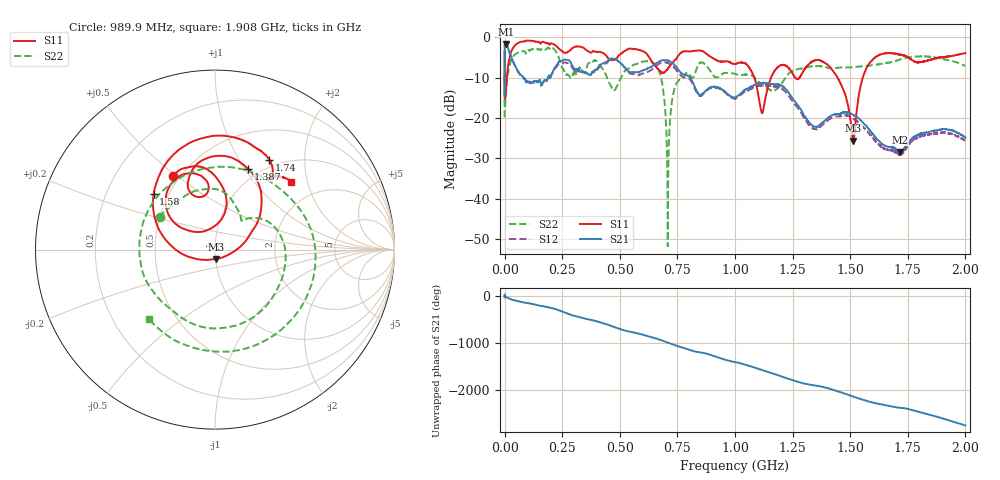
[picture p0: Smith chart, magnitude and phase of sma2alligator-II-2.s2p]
# HZ S RI R 50.000000000000
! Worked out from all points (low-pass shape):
!   20000 points, 9 kHz to 2 GHz, reference 50 ohm
!   highest |S21| = -1.68 dB at 4.909 MHz (marker M1); lowest = -28.4 dB at 1.716 GHz (marker M2)
!   |S21| within 3 dB of the highest: 102.6 kHz to 27.81 MHz (27.71 MHz wide, 199 % of centre)
!   lowest |S11| = -25.6 dB at 1.514 GHz (marker M3), VSWR 1.11, Z = 50.4 - j5.27 ohm
!   |S11| at or under -10 dB: 1.084 GHz to 1.156 GHz (72.39 MHz wide, 6.46 % of centre); 1.261 GHz to 1.28 GHz (19.21 MHz wide, 1.51 % of centre); 1.445 GHz to 1.555 GHz (109.3 MHz wide, 7.29 % of centre)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
!   |S22| runs from -51.7 to -2.5 dB; largest |S21 - S12| = 1.6
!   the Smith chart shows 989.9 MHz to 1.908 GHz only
!   S11 on the Smith chart (normalised r, x): 989.9 MHz: 0.46, +0.49; 1.387 GHz: 0.88, +1.04; 1.58 GHz: 0.42, +0.33; 1.74 GHz: 0.89, +1.36; 1.908 GHz: 1.43, +1.60
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9000  0.6665 0.014  0.1747 -0.0747  -0.247 -0.1876  -0.0317 -0.0969
4909239  -0.0672 0.1993  0.8178 -0.1038  -0.7805 0.1866  -0.0648 0.1679
9.371357e7  0.8814 -0.1868  -0.2088 -0.1808  0.14 0.2308  0.4436 -0.4652
2.029189e8  0.4121 -0.7295  -0.1538 0.3108  0.3162 -0.1164  -0.7351 -0.1619
2.733223e8  0.1771 -0.6301  0.5207 -0.0386  -0.2472 -0.4104  0.3331 0.0769
3.334253e8  -0.0821 -0.7519  -0.00908 -0.3726  -0.3553 0.0786  -0.3884 -0.0767
4.760322e8  -0.2914 -0.437  0.2034 0.4989  0.5316 0.0145  0.00454 -0.2207
5.659366e8  -0.6242 -0.3415  0.2109 -0.3018  -0.0783 -0.337  0.0792 0.4534
6.667415e8  -0.4027 0.00325  -0.4867 0.0791  -0.412 0.2084  0.2505 -0.3201
7.091436e8  -0.3911 -0.1245  -0.0494 0.5121  0.0213 0.4788  0.0064 0.0086
7.538458e8  -0.5722 -0.1404  0.3809 0.1116  0.3381 0.1346  0.2569 -0.1309
9.898573e8  -0.2321 0.4093  0.1131 0.1411  -0.0782 0.1579  -0.3085 0.1792
1.000058e9  -0.2268 0.4082  0.1346 0.1186  -0.0559 0.1644  -0.2792 0.2144
1.333374e9  -0.0836 0.489  0.0064 -0.0811  0.0306 0.0692  0.1792 -0.3974
1.387477e9  0.1832 0.4509  -0.0644 -0.0653  0.0748 0.0425  -0.1405 -0.4062
1.514283e9  0.00694 -0.0521  0.0985 0.0456  -0.0736 -0.0644  -0.4062 0.1301
1.579986e9  -0.3416 0.3089  0.0165 -0.0714  -0.0495 0.0422  -0.1932 0.4014
1.66669e9  0.049 0.6344  -0.043 -0.00883  0.0133 0.0379  0.2745 0.3993
1.715593e9  0.2372 0.5615  -0.0326 0.0197  0.0267 0.023  0.4901 0.1995
1.739894e9  0.3021 0.5009  -0.0313 0.0315  0.0352 0.0211  0.5525 0.0444
1.908302e9  0.4255 0.3785  0.00104 -0.0733  -0.0561 -0.0355  -0.3712 -0.3831
2.000007e9  0.5671 0.2875  -0.0387 0.0423  -0.0116 0.051  -0.3758 0.2319
